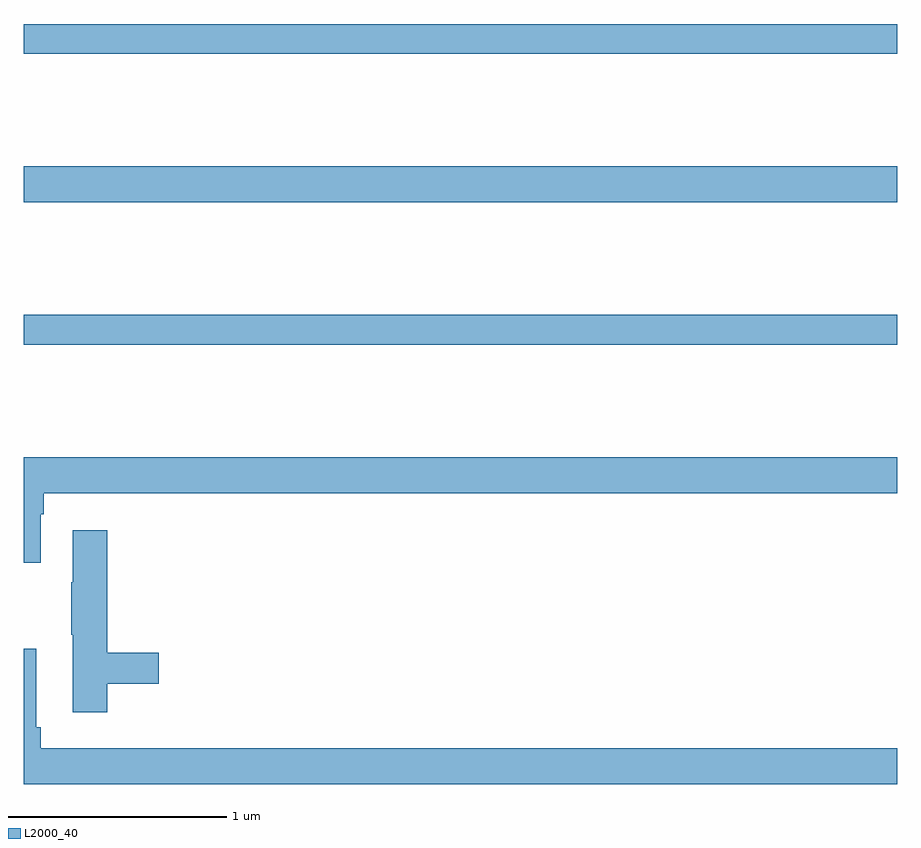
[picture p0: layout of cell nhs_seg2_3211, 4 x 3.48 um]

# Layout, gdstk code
import gdstk
lib = gdstk.Library(unit=1e-6, precision=1e-09)
def R(c, l, rs):  # rectangles x0, y0, x1, y1
    for r in rs: c.add(gdstk.rectangle(r[:2], r[2:], *l))
def P(c, l, *ps):  # polygons
    for p in ps: c.add(gdstk.Polygon(p, *l))
L2000_40 = (2000, 40)

nhs_seg2_3211 = lib.new_cell('nhs_seg2_3211')
R(nhs_seg2_3211, L2000_40, [(279,660.304,283,660.44), (279,660.956,283,661.12), (279,661.636,283,661.772)])
P(nhs_seg2_3211, L2000_40, [(279.079,659.528),(279.092,659.528),(279.092,659.624),(283,659.624),(283,659.788),(279,659.788),(279,659.304),(279.079,659.304)],
  [(279.383,658.75),(279.619,658.75),(279.619,658.892),(279.383,658.892),(279.383,659.455),(279.224,659.455),(279.224,659.216),(279.217,659.216),(279.217,658.975),(279.224,658.975),(279.224,658.62),(279.383,658.62)],
  [(283,658.456),(279.077,658.456),(279.077,658.552),(279.058,658.552),(279.058,658.912),(279,658.912),(279,658.292),(283,658.292)])

lib.write_gds('nhs_seg2_3211.gds')
